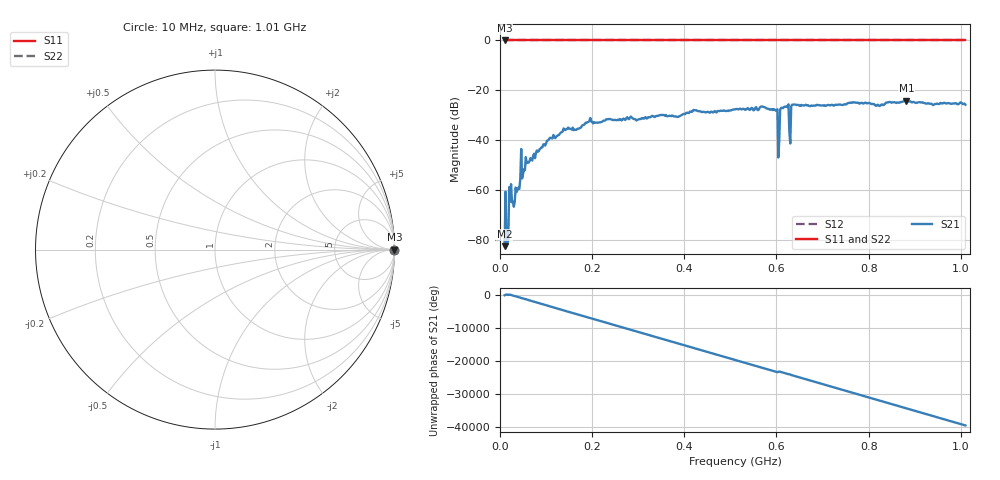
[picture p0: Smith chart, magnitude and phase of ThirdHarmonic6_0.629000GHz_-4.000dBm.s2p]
! 8/15/2025 8:43:47 PM
! C:\ANRITSUVNA\TEMP\TEMP.S2P
! CHANNEL.1
! TR.MEASUREMENT
! RAW.DATA
! RF.CORRECTION.OFF
! AVERAGING.OFF
! IF.BANDWIDTH: 5KHZ
! SWEEPTYPE:  FREQ.SWEEP(Linear)
! Reference Plane Port Info
! PORT:  PORT1  PORT2
! DISTANCE:  0  m  0  m
! TIME:  0  s  0  s
! PHASE.OFFSET:  0  deg.  0  deg.
! LOSS:  0  dB  0  dB
! REF.LOSS:  0  dB  0  dB
! REF.FREQ:  0  Hz  0  Hz
! Power Info
! POWER:  -20  dBm  -20  dBm
! EFF.POWER:  -20  dBm  -20  dBm
! SOURCE.ATTEN:  0  dB  0  dB
! TEST.ATTEN:  0  dB  0  dB
# GHZ S RI R 50.0
! FREQ.GHZ  S11RE  S11IM  S21RE  S21IM  S12RE  S12IM  S22RE  S22IM
!; PortSelection: Port_12
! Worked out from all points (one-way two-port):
!   501 points, 10 MHz to 1.01 GHz, reference 50 ohm
!   highest |S21| = -24.03 dB at 882 MHz (marker M1); lowest = -82.3 dB at 10 MHz (marker M2)
!   lowest |S11| = 0.0 dB at 10 MHz (marker M3)
!   |S11| at or under -10 dB: nowhere
!   |S22| runs from 0.0 to 0.0 dB; largest |S21 - S12| = 1.1
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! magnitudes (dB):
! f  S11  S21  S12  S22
! 10 MHz  0.0  -82.3  0.0  0.0
! 18 MHz  0.0  -80.0  0.0  0.0
! 24 MHz  0.0  -57.5  0.0  0.0
! 30 MHz  0.0  -66.5  0.0  0.0
! 48 MHz  0.0  -55.2  0.0  0.0
! 60 MHz  0.0  -48.8  0.0  0.0
! 112 MHz  0.0  -39.1  0.0  0.0
! 178 MHz  0.0  -34.1  0.0  0.0
! 344 MHz  0.0  -30.1  0.0  0.0
! 510 MHz  0.0  -27.5  0.0  0.0
! 598 MHz  0.0  -28.0  0.0  0.0
! 602 MHz  0.0  -27.5  0.0  0.0
! 608 MHz  0.0  -27.6  0.0  0.0
! 614 MHz  0.0  -27.1  0.0  0.0
! 622 MHz  0.0  -26.4  0.0  0.0
! 628 MHz  0.0  -36.6  0.0  0.0
! 632 MHz  0.0  -26.3  0.0  0.0
! 636 MHz  0.0  -25.7  0.0  0.0
! 678 MHz  0.0  -26.2  0.0  0.0
! 844 MHz  0.0  -24.6  0.0  0.0
! 882 MHz  0.0  -24.0  0.0  0.0
! 1.01 GHz  0.0  -25.7  0.0  0.0
